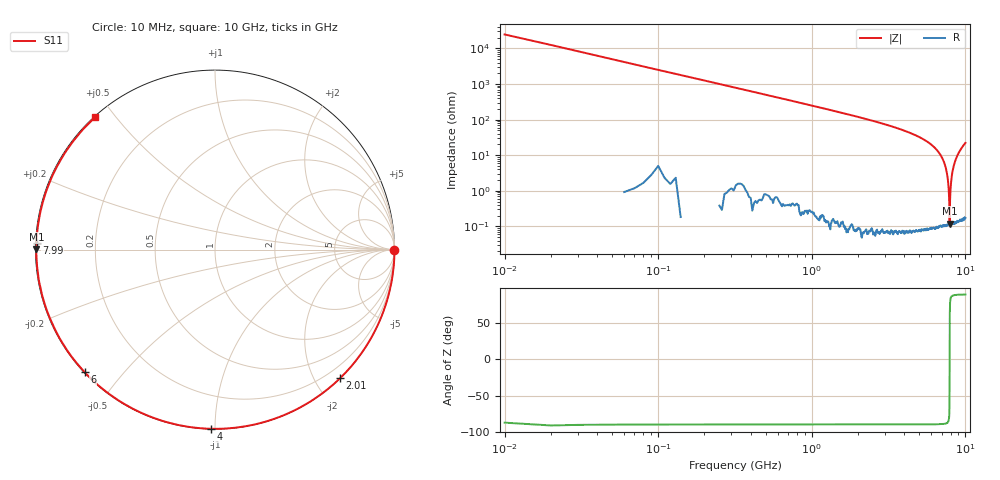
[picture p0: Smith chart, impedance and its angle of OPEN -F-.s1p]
!Keysight Technologies,N5242A,MY53222596,A.10.47.06
!Date: Thursday, November 09, 2017 12:26:23
!Correction: S33(Full 2 Port(1,3))
!S1P File: Measurement: S33:
# Hz S  MA  R 50
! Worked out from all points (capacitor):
!   1000 points, 10 MHz to 10 GHz, reference 50 ohm
!   read as one part to ground: C = 639 fF near 60 MHz
!   lowest |Z| = 120 mohm at 7.9 GHz (marker M1)
!   series resonance near 7.896 GHz, so ESL is about 640 pH
!   S11 on the Smith chart (normalised r, x): 10 MHz: open; 2.01 GHz: 0.00, -2.37; 4 GHz: 0.00, -0.98; 6 GHz: 0.00, -0.40; 7.99 GHz: 0.00, +0.02; 10 GHz: 0.00, +0.44
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1e7  0.9998 -0.2
3.1e8  0.9998 -7.1
6.4e8  0.9998 -14.6
9.4e8  0.9997 -21.4
1.26e9  0.9997 -28.7
1.65e9  0.9997 -37.6
2.01e9  0.9995 -45.8
2.51e9  0.9995 -57.2
2.85e9  0.9991 -64.9
3.15e9  0.9991 -71.8
3.45e9  0.9988 -78.6
3.76e9  0.9987 -85.7
4e9  0.9986 -91.1
4.49e9  0.9983 -102.3
5.01e9  0.9979 -114.2
5.49e9  0.9975 -125.1
6e9  0.997 -136.8
6.26e9  0.9967 -142.8
6.58e9  0.9966 -150.0
6.92e9  0.9961 -157.8
7.51e9  0.9956 -171.3
7.9e9  0.9954 179.9
7.99e9  0.9951 177.8
8.36e9  0.995 169.4
8.76e9  0.9949 160.3
9.37e9  0.9947 146.4
9.72e9  0.9943 138.4
1e10  0.9943 132.2
